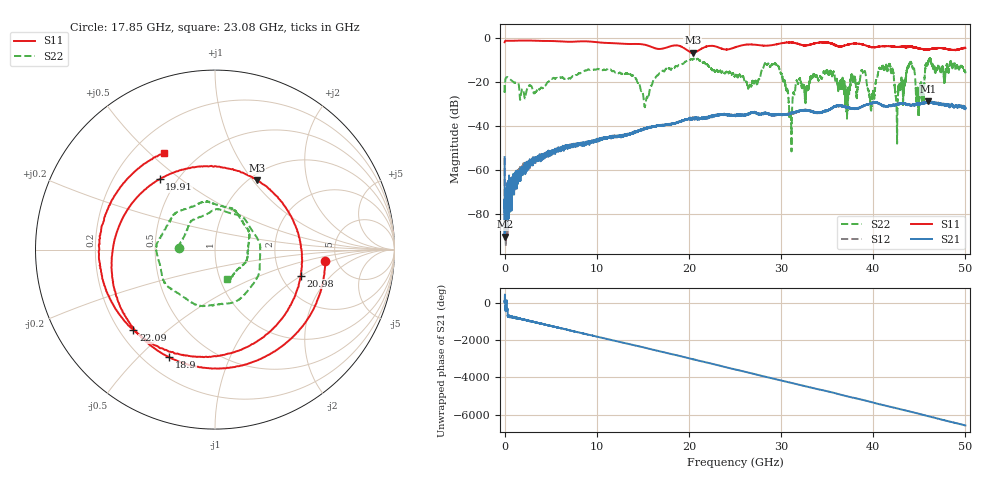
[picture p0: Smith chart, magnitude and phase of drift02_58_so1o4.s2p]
!Created with skrf (http://scikit-rf.org).
# Hz S RI R 50.0
!freq ReS11 ImS11 ReS21 ImS21 ReS12 ImS12 ReS22 ImS22
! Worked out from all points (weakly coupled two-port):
!   10001 points, 300 kHz to 50 GHz, reference 50 ohm
!   highest |S21| = -28.91 dB at 45.97 GHz (marker M1); lowest = -90.5 dB at 5.3 MHz (marker M2)
!   lowest |S11| = -6.9 dB at 20.41 GHz (marker M3), VSWR 2.64, Z = 54.2 + j52.5 ohm
!   |S11| at or under -10 dB: nowhere
!   |S22| runs from -51.7 to -9.4 dB; largest |S21 - S12| = 0.0033
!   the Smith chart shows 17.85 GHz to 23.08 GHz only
!   S11 on the Smith chart (normalised r, x): 17.85 GHz: 4.03, -0.85; 18.9 GHz: 0.30, -0.62; 19.91 GHz: 0.40, +0.42; 20.98 GHz: 2.55, -0.99; 22.09 GHz: 0.26, -0.39; 23.08 GHz: 0.32, +0.56
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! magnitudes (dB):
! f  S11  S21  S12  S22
! 300 kHz  -2.1  -54.3  -54.7  -21.6
! 5.3 MHz  -2.1  -90.5  -73.5  -25.7
! 8.335 GHz  -1.7  -48.2  -48.4  -15.7
! 15.33 GHz  -3.4  -41.3  -41.2  -29.1
! 16.67 GHz  -5.2  -40.2  -40.1  -17.0
! 17.85 GHz  -4.2  -39.6  -39.4  -13.9
! 18.9 GHz  -3.7  -38.5  -38.5  -12.5
! 19.91 GHz  -6.0  -37.0  -37.1  -10.2
! 20.41 GHz  -6.9  -37.1  -36.9  -10.0
! 20.98 GHz  -6.0  -36.8  -36.7  -9.7
! 22.09 GHz  -3.9  -36.4  -36.4  -12.8
! 23.08 GHz  -4.3  -35.3  -35.2  -15.0
! 25 GHz  -4.5  -35.1  -35.4  -17.5
! 29.52 GHz  -3.1  -34.9  -35.1  -12.6
! 31.04 GHz  -2.3  -34.4  -34.5  -33.8
! 33.34 GHz  -3.0  -33.5  -33.4  -18.0
! 38.92 GHz  -3.3  -31.0  -31.0  -16.1
! 39.87 GHz  -4.4  -29.9  -29.9  -28.1
! 41.67 GHz  -3.9  -31.1  -31.1  -13.0
! 42.59 GHz  -4.3  -30.2  -30.2  -44.9
! 45.97 GHz  -5.4  -28.9  -29.3  -10.6
! 50 GHz  -4.8  -32.0  -32.1  -16.2
